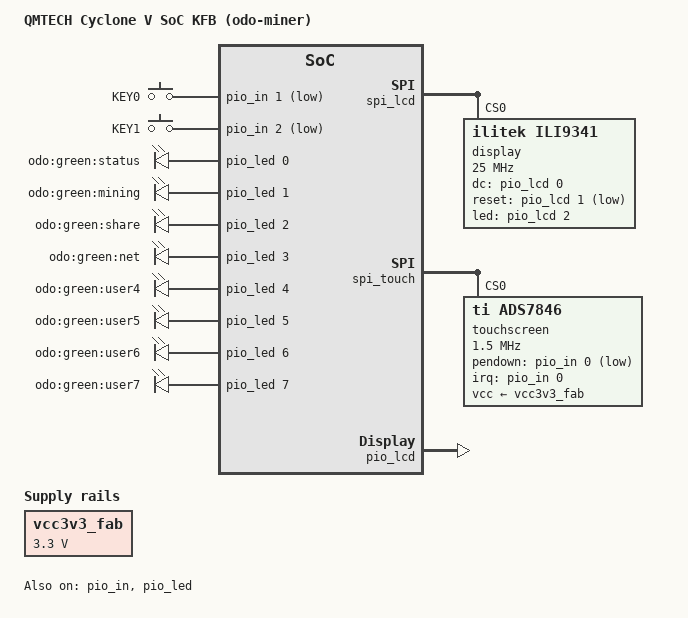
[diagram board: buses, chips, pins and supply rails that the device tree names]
// SPDX-License-Identifier: GPL-2.0
/*
 * QMTECH Cyclone V SoC KFB (dual SDRAM) — odo-miner board device tree.
 *
 * Extends the in-tree SoCDK board (closest match: same Cyclone V SX family,
 * RGMII EMAC1, 8-bit SD, UART0) with the fabric peripherals generated by
 * hdl/qsys/soc_system.qsys on the lightweight HPS-to-FPGA bridge:
 *
 *   0xFF200000  odocrypt miner registers (no kernel driver; odod uses /dev/mem)
 *   0xFF201000  SPI master, ILI9341 TFT          (IRQ f2h 0 -> GIC SPI 72)
 *   0xFF201100  SPI master, XPT2046/ADS7846 touch (IRQ f2h 1 -> GIC SPI 73)
 *   0xFF201200  PIO out: LCD D/C, RESET_n, backlight
 *   0xFF201300  PIO in : touch PENIRQ_n, KEY0, KEY1 (IRQ f2h 2 -> GIC SPI 74)
 *   0xFF201400  PIO out: board LEDs
 *   0xFF201500  PIO bidir: fan/thermal header (J10 "GPIO_1", pins 33-36) --
 *               no kernel driver, odo-miner-pipe bit-bangs DS18B20 one-wire
 *               and drives fan/tach directly via /dev/mem (hps/thermal.c)
 *
 * NOTE: the LWH2F bridge must be enabled (via U-Boot bridge_enable or the
 * fpga2hps/hps2fpga bridge driver) before any of these devices probe usefully.
 */

/* Buildroot copies this file to arch/arm/boot/dts/, so the in-tree board
 * include needs its post-6.5 vendor-directory path. */
#include "intel/socfpga/socfpga_cyclone5_socdk.dts"
#include <dt-bindings/interrupt-controller/irq.h>
#include <dt-bindings/gpio/gpio.h>

/ {
	model = "QMTECH Cyclone V SoC KFB (odo-miner)";

	vcc3v3_fab: regulator-fab-3v3 {
		compatible = "regulator-fixed";
		regulator-name = "vcc3v3-fabric";
		regulator-min-microvolt = <3300000>;
		regulator-max-microvolt = <3300000>;
		regulator-always-on;
	};

	soc {
		spi_lcd: spi@ff201000 {
			compatible = "altr,spi-1.0";
			reg = <0xff201000 0x20>;
			/* No interrupts property -> spi-altera runs in POLLING mode.
			 * The fabric f2h IRQ to the GIC does not fire on this board
			 * (SPI transfers time out -110 in IRQ mode); polling the
			 * status register works since LWH2F register access is fine. */
			#address-cells = <1>;
			#size-cells = <0>;
			status = "okay";

			/* KMRTM28028-SPI: 2.8" 240x320 ILI9341 panel.
			 * rotate=270 -> 320x240 landscape (matches odo_ui.c layout). */
			display@0 {
				compatible = "ilitek,ili9341";
				reg = <0>;
				spi-max-frequency = <25000000>;
				dc-gpios    = <&pio_lcd 0 GPIO_ACTIVE_HIGH>;
				reset-gpios = <&pio_lcd 1 GPIO_ACTIVE_LOW>;
				led-gpios   = <&pio_lcd 2 GPIO_ACTIVE_HIGH>;
				rotate = <270>;
				bgr;
				fps = <30>;
				buswidth = <8>;
			};
		};

		spi_touch: spi@ff201100 {
			compatible = "altr,spi-1.0";
			reg = <0xff201100 0x20>;
			/* polling mode — see spi_lcd above */
			#address-cells = <1>;
			#size-cells = <0>;
			status = "okay";

			touchscreen@0 {
				compatible = "ti,ads7846";
				reg = <0>;
				spi-max-frequency = <1500000>;
				vcc-supply = <&vcc3v3_fab>;

				interrupt-parent = <&pio_in>;
				interrupts = <0 IRQ_TYPE_EDGE_FALLING>;
				pendown-gpio = <&pio_in 0 GPIO_ACTIVE_LOW>;

				ti,x-min = /bits/ 16 <150>;
				ti,x-max = /bits/ 16 <3900>;
				ti,y-min = /bits/ 16 <150>;
				ti,y-max = /bits/ 16 <3900>;
				ti,x-plate-ohms = /bits/ 16 <60>;
				ti,pressure-max = /bits/ 16 <255>;
				ti,swap-xy;
				wakeup-source;
			};
		};

		pio_lcd: gpio@ff201200 {
			compatible = "altr,pio-1.0";
			reg = <0xff201200 0x10>;
			altr,ngpio = <3>;
			gpio-controller;
			#gpio-cells = <2>;
			status = "okay";
		};

		pio_in: gpio@ff201300 {
			compatible = "altr,pio-1.0";
			reg = <0xff201300 0x10>;
			/* f2h_irq0[2] = GIC SPI 74 = DT <0 42 4> (number = GIC_ID-32).
			 * Was <0 74 4> (= GIC 106, the unconnected f2h_irq1 range) — the
			 * classic off-by-32; that's why the touch pen IRQ never fired. */
			interrupts = <0 42 IRQ_TYPE_LEVEL_HIGH>;
			altr,ngpio = <3>;
			altr,interrupt-type = <IRQ_TYPE_EDGE_FALLING>;
			gpio-controller;
			#gpio-cells = <2>;
			interrupt-controller;
			#interrupt-cells = <2>;
			status = "okay";
		};

		pio_led: gpio@ff201400 {
			compatible = "altr,pio-1.0";
			reg = <0xff201400 0x10>;
			altr,ngpio = <8>;
			gpio-controller;
			#gpio-cells = <2>;
			status = "okay";
		};
	};

	gpio-keys {
		compatible = "gpio-keys";

		key0 {
			label = "KEY0";
			gpios = <&pio_in 1 GPIO_ACTIVE_LOW>;
			linux,code = <103>;	/* KEY_UP */
		};

		key1 {
			label = "KEY1";
			gpios = <&pio_in 2 GPIO_ACTIVE_LOW>;
			linux,code = <108>;	/* KEY_DOWN */
		};
	};

	leds {
		compatible = "gpio-leds";

		led0 { label = "odo:green:status";  gpios = <&pio_led 0 GPIO_ACTIVE_HIGH>; linux,default-trigger = "heartbeat"; };
		led1 { label = "odo:green:mining";  gpios = <&pio_led 1 GPIO_ACTIVE_HIGH>; };
		led2 { label = "odo:green:share";   gpios = <&pio_led 2 GPIO_ACTIVE_HIGH>; };
		led3 { label = "odo:green:net";     gpios = <&pio_led 3 GPIO_ACTIVE_HIGH>; };
		led4 { label = "odo:green:user4";   gpios = <&pio_led 4 GPIO_ACTIVE_HIGH>; };
		led5 { label = "odo:green:user5";   gpios = <&pio_led 5 GPIO_ACTIVE_HIGH>; };
		led6 { label = "odo:green:user6";   gpios = <&pio_led 6 GPIO_ACTIVE_HIGH>; };
		led7 { label = "odo:green:user7";   gpios = <&pio_led 7 GPIO_ACTIVE_HIGH>; };
	};

};

/* Fixed MAC for EMAC1 (U-Boot has no MAC in its env; without one Linux picks a
 * random MAC each boot). 02:.. = locally administered, fine for a test net. */
&gmac1 {
	local-mac-address = [02 de ad be ef 01];
};
